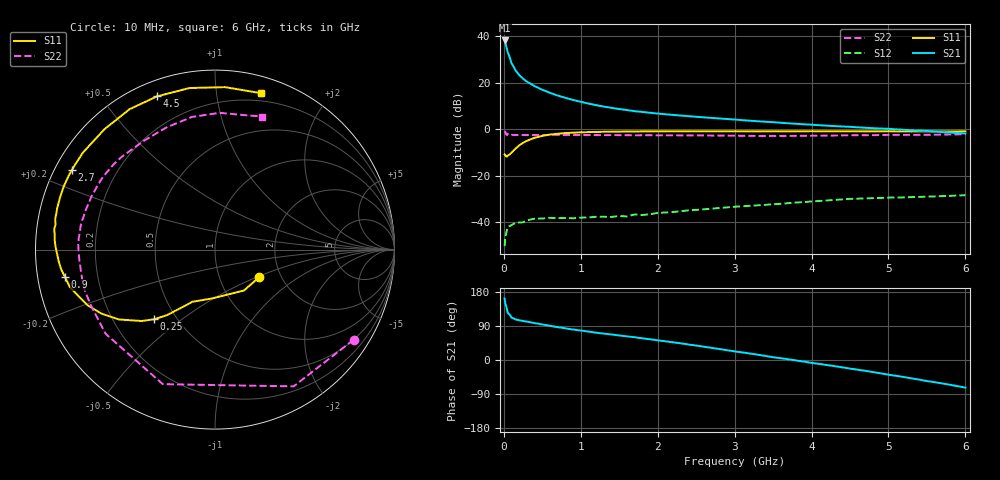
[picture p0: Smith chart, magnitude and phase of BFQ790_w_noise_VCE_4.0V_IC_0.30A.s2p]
! Infineon Technologies  Discrete & RF Semiconductors
! BFQ790
! VCE =  4.0 V,  IC = 0.30 A
! Common Emitter S-Parameters:  May 2015
# GHz  S  MA  R  50
!  f  S11  S21  S12  S22
! GHz  MAG  ANG  MAG  ANG  MAG  ANG  MAG  ANG
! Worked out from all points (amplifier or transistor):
!   77 points, 10 MHz to 6 GHz, reference 50 ohm
!   highest |S21| = 38.2 dB at 10 MHz (marker M1)
!   |S21| within 3 dB of that: start of sweep to 34.89 MHz
!   unconditionally stable (mu >= 1): 193 MHz to end of sweep
!   at 130 MHz: K = 0.80, MSG = 33.6 dB, |S12| = -40.5 dB
!   at 2.2 GHz: K = 1.35, MAG = 17.3 dB, |S12| = -35.5 dB
!   at 6 GHz: K = 1.13, MAG = 11.1 dB, |S12| = -28.3 dB
!   lowest NFmin = 4.10 dB at 1.5 GHz
!   S11 on the Smith chart (normalised r, x): 10 MHz: 1.55, -0.52; 250 MHz: 0.38, -0.40; 900 MHz: 0.08, -0.09; 2.7 GHz: 0.05, +0.26; 4.5 GHz: 0.07, +0.69; 6 GHz: 0.13, +1.33
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0.01  0.2902 -31.9  81.5 162.5  0.0031 70.7  0.9213 -33.0
0.02  0.2793 -54.6  71.94 148.1  0.0049 61.8  0.879 -60.1
0.05  0.2727 -93.5  45.75 124.3  0.008 35.0  0.804 -111.2
0.1  0.317 -113.5  26.39 111.7  0.0088 22.3  0.769 -142.4
0.15  0.3837 -121.0  18.68 107.3  0.0098 20.3  0.7581 -155.6
0.2  0.4521 -126.2  14.72 104.9  0.01 22.7  0.7603 -162.6
0.25  0.5149 -131.1  12.29 102.9  0.0101 19.4  0.7583 -167.2
0.3  0.5696 -135.7  10.6 101.2  0.0111 16.8  0.7565 -170.7
0.4  0.6609 -143.9  8.491 97.3  0.0121 16.6  0.7581 -175.6
0.5  0.7262 -150.6  7.094 93.7  0.0122 15.3  0.76 -179.2
0.6  0.7745 -156.4  6.115 90.2  0.0126 13.6  0.7625 177.9
0.7  0.805 -161.4  5.341 86.7  0.0124 15.9  0.762 175.5
0.9  0.8499 -169.7  4.288 80.4  0.0123 15.0  0.7593 171.7
1.1  0.8748 -176.3  3.59 74.9  0.0128 13.8  0.7588 168.2
1.5  0.8967 174.7  2.739 64.8  0.0138 16.5  0.7526 162.5
2.1  0.9094 163.5  2.117 49.4  0.0164 17.0  0.7458 153.6
2.7  0.912 150.8  1.765 32.1  0.0198 12.2  0.7387 141.9
3.1  0.9099 141.5  1.581 20.0  0.0223 7.3  0.729 132.9
4.1  0.9127 119.2  1.231 -10.3  0.029 -7.2  0.7335 109.2
4.5  0.9128 110.7  1.137 -22.6  0.0322 -14.4  0.7503 99.8
5.1  0.907 96.5  1.003 -41.8  0.0344 -27.1  0.7614 85.9
6  0.9083 73.7  0.821 -72.9  0.0386 -48.2  0.7871 70.4
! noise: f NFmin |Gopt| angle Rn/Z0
0.45  6.78  0.53  143  0.71
0.9  4.78  0.66  170  0.19
1.5  4.1  0.74  -171  0.11
1.8  4.11  0.76  -166  0.14
2.6  4.26  0.78  -150  0.37
3.5  4.69  0.89  -135  0.75
